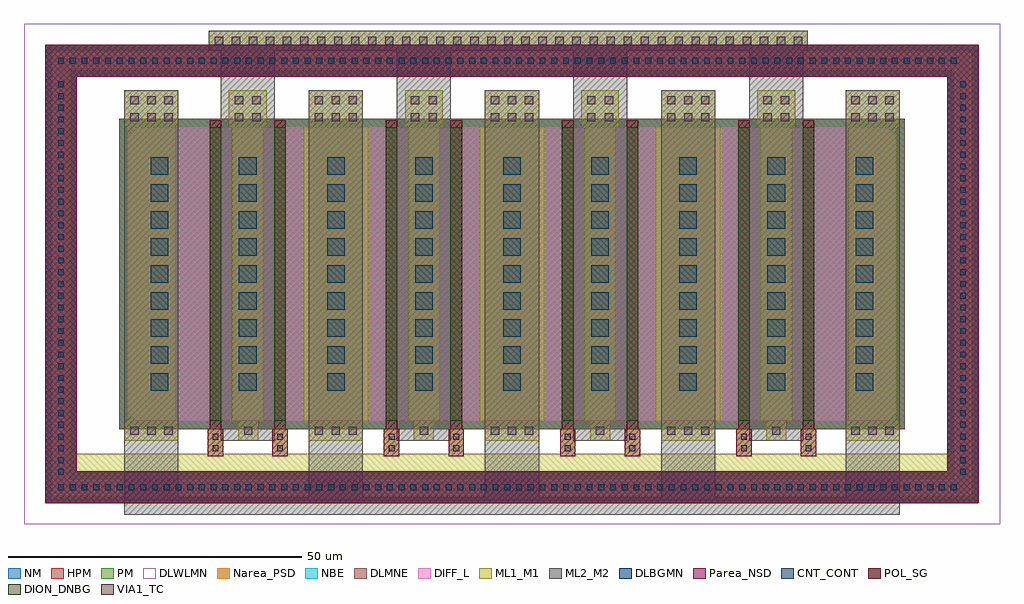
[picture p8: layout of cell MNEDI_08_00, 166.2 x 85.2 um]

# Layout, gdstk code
from math import pi, radians
import gdstk
lib = gdstk.Library(unit=1e-6, precision=1e-09)
def R(c, l, rs):  # rectangles x0, y0, x1, y1
    for r in rs: c.add(gdstk.rectangle(r[:2], r[2:], *l))
def A(c, l, x, y, w, h, nx, ny, dx, dy):  # array of equal rectangles
    R(c, l, [(x+i*dx, y+j*dy, x+i*dx+w, y+j*dy+h) for i in range(nx) for j in range(ny)])
def P(c, l, *ps):  # polygons
    for p in ps: c.add(gdstk.Polygon(p, *l))
DIFF_L = (3, 0)
NM = (7, 0)
POL_SG = (8, 0)
Narea_PSD = (9, 0)
CNT_CONT = (11, 0)
ML1_M1 = (13, 0)
VIA1_TC = (19, 0)
ML2_M2 = (20, 0)
Parea_NSD = (28, 0)
HPM = (33, 0)
PM = (35, 0)
DION_DNBG = (117, 0)
NBE = (147, 0)
DLWLMN = (151, 0)
DLMNE = (170, 0)
DLBGMN = (178, 0)

bgmn_cdns_696586966330 = lib.new_cell('BGMN_CDNS_696586966330')
R(bgmn_cdns_696586966330, DIFF_L, [(0,0,156.2,2.6)])
R(bgmn_cdns_696586966330, NM, [(-1.4,-1.4,157.6,4)])
A(bgmn_cdns_696586966330, CNT_CONT, 0.8, 0.8, 1, 1, 77, 1, 2, 0)
R(bgmn_cdns_696586966330, ML1_M1, [(0,0,156.2,2.6)])
R(bgmn_cdns_696586966330, Parea_NSD, [(-1.4,-1.4,157.6,4)])
R(bgmn_cdns_696586966330, HPM, [(-1.4,-1.4,157.6,4)])
R(bgmn_cdns_696586966330, PM, [(-1.4,-1.4,157.6,4)])

mne_cdns_696586966331 = lib.new_cell('MNE_CDNS_696586966331')
R(mne_cdns_696586966331, DIFF_L, [(10,0,12,50)])
P(mne_cdns_696586966331, DIFF_L, [(12,0),(12,50),(24.6,50),(26,48.6),(26,1.4),(24.6,0)],
  [(1.4,0),(0,1.4),(0,48.6),(1.4,50),(10,50),(10,0)])
R(mne_cdns_696586966331, NM, [(-1.4,-1.4,27.4,51.4)])
R(mne_cdns_696586966331, POL_SG, [(10,-1.2,12,0), (10,-1.2,12,51.2), (10,50,12,51.2)])
R(mne_cdns_696586966331, Narea_PSD, [(-1.4,-1.4,27.4,51.4)])
A(mne_cdns_696586966331, CNT_CONT, 4, 5.1, 3, 3, 1, 9, 0, 4.6)
A(mne_cdns_696586966331, CNT_CONT, 19, 5.1, 3, 3, 1, 9, 0, 4.6)
R(mne_cdns_696586966331, ML1_M1, [(2.8,0,8.2,50), (17.8,0,26,50)])
R(mne_cdns_696586966331, HPM, [(-1.4,-1.4,27.4,51.4)])
R(mne_cdns_696586966331, PM, [(-1.4,-1.4,27.4,51.4)])
R(mne_cdns_696586966331, DION_DNBG, [(10,0,12,50)])
R(mne_cdns_696586966331, NBE, [(-1.4,-1.4,27.4,51.4)])
R(mne_cdns_696586966331, DLMNE, [(-1.4,-1.4,27.4,51.4)])

bgmn_cdns_696586966332 = lib.new_cell('BGMN_CDNS_696586966332')
R(bgmn_cdns_696586966332, DIFF_L, [(0,0,70,2.6)])
R(bgmn_cdns_696586966332, NM, [(-1.4,-1.4,71.4,4)])
A(bgmn_cdns_696586966332, CNT_CONT, 0.8, 0.8, 1, 1, 34, 1, 2, 0)
R(bgmn_cdns_696586966332, ML1_M1, [(0,0,70,2.6)])
R(bgmn_cdns_696586966332, Parea_NSD, [(-1.4,-1.4,71.4,4)])
R(bgmn_cdns_696586966332, HPM, [(-1.4,-1.4,71.4,4)])
R(bgmn_cdns_696586966332, PM, [(-1.4,-1.4,71.4,4)])

wlmn_cdns_696586966333 = lib.new_cell('WLMN_CDNS_696586966333')
R(wlmn_cdns_696586966333, DLWLMN, [(0,0,166.2,85.2)])

tc14_cdns_696586966330 = lib.new_cell('TC14_CDNS_696586966330')
R(tc14_cdns_696586966330, ML1_M1, [(-51,-1.7,51,1.7)])
A(tc14_cdns_696586966330, VIA1_TC, -50, -0.7, 1.4, 1.4, 35, 1, 2.9, 0)
R(tc14_cdns_696586966330, ML2_M2, [(-51,-1.7,51,1.7)])

tc14_cdns_696586966331 = lib.new_cell('TC14_CDNS_696586966331')
R(tc14_cdns_696586966331, ML1_M1, [(-4.6,-3.1,4.6,3.2)])
A(tc14_cdns_696586966331, VIA1_TC, -3.6, -2.1, 1.4, 1.4, 3, 2, 2.9, 2.9)
R(tc14_cdns_696586966331, ML2_M2, [(-4.6,-3.1,4.6,3.2)])

tc14_cdns_696586966332 = lib.new_cell('TC14_CDNS_696586966332')
R(tc14_cdns_696586966332, ML1_M1, [(-1.7,-3.1,1.7,3.2)])
R(tc14_cdns_696586966332, VIA1_TC, [(-0.7,-2.1,0.7,-0.7), (-0.7,0.8,0.7,2.2)])
R(tc14_cdns_696586966332, ML2_M2, [(-1.7,-3.1,1.7,3.2)])

tc14_cdns_696586966333 = lib.new_cell('TC14_CDNS_696586966333')
R(tc14_cdns_696586966333, ML1_M1, [(-4.6,-1.7,4.6,1.7)])
A(tc14_cdns_696586966333, VIA1_TC, -3.6, -0.7, 1.4, 1.4, 3, 1, 2.9, 0)
R(tc14_cdns_696586966333, ML2_M2, [(-4.6,-1.7,4.6,1.7)])

tc14_cdns_696586966334 = lib.new_cell('TC14_CDNS_696586966334')
R(tc14_cdns_696586966334, ML1_M1, [(-1.7,-1.7,1.7,1.7)])
R(tc14_cdns_696586966334, VIA1_TC, [(-0.7,-0.7,0.7,0.7)])
R(tc14_cdns_696586966334, ML2_M2, [(-1.7,-1.7,1.7,1.7)])

sgct_cdns_696586966335 = lib.new_cell('SGCT_CDNS_696586966335')
R(sgct_cdns_696586966335, POL_SG, [(-1.3,-2.3,1.3,2.3)])
R(sgct_cdns_696586966335, CNT_CONT, [(-0.5,-1.5,0.5,-0.5), (-0.5,0.5,0.5,1.5)])
R(sgct_cdns_696586966335, ML1_M1, [(-1.3,-2.3,1.3,2.3)])

mnedi_08_00 = lib.new_cell('MNEDI_08_00')
R(mnedi_08_00, POL_SG, [(31.6,16.2,33.6,16.4), (42.6,16.2,44.6,16.4), (61.6,16.2,63.6,16.4), (72.6,16.2,74.6,16.4), (91.6,16.2,93.6,16.4), (102.6,16.2,104.6,16.4), (121.6,16.2,123.6,16.4), (132.6,16.2,134.6,16.4)])
R(mnedi_08_00, ML1_M1, [(7.6,7.6,158.6,12)])
A(mnedi_08_00, ML2_M2, 48.5, 1.6, 9.2, 72.3, 3, 1, 30, 0)
A(mnedi_08_00, ML2_M2, 33.5, 14.2, 9.2, 69.8, 4, 1, 30, 0)
R(mnedi_08_00, ML2_M2, [(17.1,1.6,18.6,3.1), (17.1,1.6,26.3,73.9), (139.9,1.6,149.1,73.9), (31.5,83,32.5,84)])
R(mnedi_08_00, DLBGMN, [(3.6,3.6,162.6,9), (3.6,6.2,9,79), (157.2,6.2,162.6,79), (3.6,76.2,162.6,81.6)])
mnedi_08_00.add(gdstk.FlexPath([(6.3,4.6),(6.3,80.6)], 3.4, ends="flush", simple_path=True, layer=13, datatype=0))  # ML1_M1
mnedi_08_00.add(gdstk.FlexPath([(4.6,78.9),(161.6,78.9)], 3.4, ends="flush", simple_path=True, layer=13, datatype=0))  # ML1_M1
mnedi_08_00.add(gdstk.FlexPath([(4.6,6.3),(161.2,6.3)], 3.4, ends="flush", simple_path=True, layer=13, datatype=0))  # ML1_M1
mnedi_08_00.add(gdstk.FlexPath([(159.9,4.6),(159.9,80.6)], 3.4, ends="flush", simple_path=True, layer=13, datatype=0))  # ML1_M1
mnedi_08_00.add(gdstk.FlexPath([(149.1,3.1),(17.1,3.1)], 3, ends="flush", simple_path=True, layer=20, datatype=0))  # ML2_M2
mnedi_08_00.add(gdstk.Reference(bgmn_cdns_696586966330, (5,5)))
mnedi_08_00.add(gdstk.Reference(bgmn_cdns_696586966330, (5,77.6)))
mnedi_08_00.add(gdstk.Reference(mne_cdns_696586966331, (103.6,17.6), rotation=pi, x_reflection=True))
mnedi_08_00.add(gdstk.Reference(mne_cdns_696586966331, (73.6,17.6), rotation=pi, x_reflection=True))
mnedi_08_00.add(gdstk.Reference(mne_cdns_696586966331, (92.6,17.6)))
mnedi_08_00.add(gdstk.Reference(mne_cdns_696586966331, (32.6,17.6)))
mnedi_08_00.add(gdstk.Reference(mne_cdns_696586966331, (62.6,17.6)))
mnedi_08_00.add(gdstk.Reference(mne_cdns_696586966331, (43.6,17.6), rotation=pi, x_reflection=True))
mnedi_08_00.add(gdstk.Reference(mne_cdns_696586966331, (133.6,17.6), rotation=pi, x_reflection=True))
mnedi_08_00.add(gdstk.Reference(mne_cdns_696586966331, (122.6,17.6)))
mnedi_08_00.add(gdstk.Reference(bgmn_cdns_696586966332, (7.6,7.6), rotation=pi/2))
mnedi_08_00.add(gdstk.Reference(bgmn_cdns_696586966332, (161.2,7.6), rotation=pi/2))
mnedi_08_00.add(gdstk.Reference(wlmn_cdns_696586966333, (0,0)))
mnedi_08_00.add(gdstk.Reference(tc14_cdns_696586966330, (82.5,82.3)))
mnedi_08_00.add(gdstk.Reference(tc14_cdns_696586966331, (144.5,70.7)))
mnedi_08_00.add(gdstk.Reference(tc14_cdns_696586966331, (113.1,70.7)))
mnedi_08_00.add(gdstk.Reference(tc14_cdns_696586966331, (83.1,70.7)))
mnedi_08_00.add(gdstk.Reference(tc14_cdns_696586966331, (53.1,70.7)))
mnedi_08_00.add(gdstk.Reference(tc14_cdns_696586966331, (21.7,70.7)))
mnedi_08_00.add(gdstk.Reference(tc14_cdns_696586966332, (129.6,70.7)))
mnedi_08_00.add(gdstk.Reference(tc14_cdns_696586966332, (126.6,70.7)))
mnedi_08_00.add(gdstk.Reference(tc14_cdns_696586966332, (99.6,70.7)))
mnedi_08_00.add(gdstk.Reference(tc14_cdns_696586966332, (96.6,70.7)))
mnedi_08_00.add(gdstk.Reference(tc14_cdns_696586966332, (69.6,70.7)))
mnedi_08_00.add(gdstk.Reference(tc14_cdns_696586966332, (66.6,70.7)))
mnedi_08_00.add(gdstk.Reference(tc14_cdns_696586966332, (39.6,70.7)))
mnedi_08_00.add(gdstk.Reference(tc14_cdns_696586966332, (36.6,70.7)))
mnedi_08_00.add(gdstk.Reference(tc14_cdns_696586966333, (144.5,15.9)))
mnedi_08_00.add(gdstk.Reference(tc14_cdns_696586966333, (113.1,15.9)))
mnedi_08_00.add(gdstk.Reference(tc14_cdns_696586966333, (83.1,15.9)))
mnedi_08_00.add(gdstk.Reference(tc14_cdns_696586966333, (53.1,15.9)))
mnedi_08_00.add(gdstk.Reference(tc14_cdns_696586966333, (21.7,15.9)))
mnedi_08_00.add(gdstk.Reference(tc14_cdns_696586966334, (128.1,15.9)))
mnedi_08_00.add(gdstk.Reference(tc14_cdns_696586966334, (98.1,15.9)))
mnedi_08_00.add(gdstk.Reference(tc14_cdns_696586966334, (68.1,15.9)))
mnedi_08_00.add(gdstk.Reference(tc14_cdns_696586966334, (38.2,15.9)))
mnedi_08_00.add(gdstk.Reference(sgct_cdns_696586966335, (133.6,13.9)))
mnedi_08_00.add(gdstk.Reference(sgct_cdns_696586966335, (122.6,13.9)))
mnedi_08_00.add(gdstk.Reference(sgct_cdns_696586966335, (103.6,13.9)))
mnedi_08_00.add(gdstk.Reference(sgct_cdns_696586966335, (92.6,13.9)))
mnedi_08_00.add(gdstk.Reference(sgct_cdns_696586966335, (73.6,13.9)))
mnedi_08_00.add(gdstk.Reference(sgct_cdns_696586966335, (62.6,13.9)))
mnedi_08_00.add(gdstk.Reference(sgct_cdns_696586966335, (43.6,13.9)))
mnedi_08_00.add(gdstk.Reference(sgct_cdns_696586966335, (32.6,13.9)))

lib.write_gds('MNEDI_08_00.gds')
